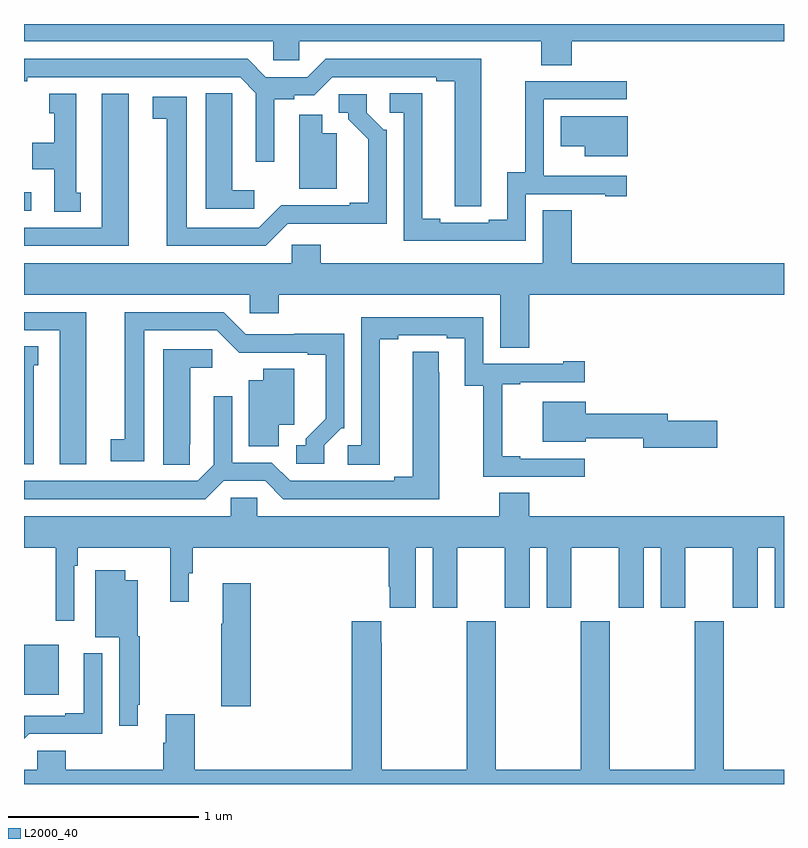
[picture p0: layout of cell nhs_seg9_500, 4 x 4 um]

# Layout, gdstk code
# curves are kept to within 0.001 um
import gdstk
lib = gdstk.Library(unit=1e-6, precision=1e-09)
def R(c, l, rs):  # rectangles x0, y0, x1, y1
    for r in rs: c.add(gdstk.rectangle(r[:2], r[2:], *l))
def P(c, l, *ps):  # polygons
    for p in ps: c.add(gdstk.Polygon(p, *l))
L2000_40 = (2000, 40)

nhs_seg9_500 = lib.new_cell('nhs_seg9_500')
R(nhs_seg9_500, L2000_40, [(135,1204.97,135.184,1205.233), (135,1207.518,135.037,1207.614)])
P(nhs_seg9_500, L2000_40, [(137.882,1208.408),(139,1208.408),(139,1208.5),(135,1208.5),(135,1208.408),(136.311,1208.408),(136.311,1208.31),(136.449,1208.31),(136.449,1208.408),(137.722,1208.408),(137.722,1208.284),(137.882,1208.284)],
  [(137.406,1207.648),(137.407,1208.316),(136.587,1208.316),(136.491,1208.22),(136.273,1208.22),(136.177,1208.316),(135,1208.316),(135,1208.2),(135.016,1208.2),(135.016,1208.22),(136.137,1208.22),(136.221,1208.136),(136.221,1207.776),(136.318,1207.776),(136.318,1208.104),(136.422,1208.104),(136.422,1208.124),(136.527,1208.124),(136.623,1208.22),(137.171,1208.22),(137.171,1208.2),(137.267,1208.2),(137.267,1207.54),(137.406,1207.54)],
  [(137.64,1207.605),(138.059,1207.605),(138.059,1207.593),(138.172,1207.593),(138.172,1207.701),(137.738,1207.701),(137.738,1207.702),(137.736,1207.702),(137.736,1208.103),(138.172,1208.103),(138.172,1208.199),(137.638,1208.199),(137.638,1207.721),(137.543,1207.721),(137.543,1207.47),(137.447,1207.47),(137.447,1207.455),(137.191,1207.455),(137.191,1207.475),(137.095,1207.475),(137.095,1208.135),(136.926,1208.135),(136.926,1208.034),(136.998,1208.034),(136.998,1207.359),(137.64,1207.359)],
  [(136.213,1207.624),(136.096,1207.624),(136.096,1208.027),(136.095,1208.027),(136.095,1208.135),(135.956,1208.135),(135.956,1207.527),(136.213,1207.527)],
  [(135.298,1207.611),(135.274,1207.611),(135.274,1208.134),(135.134,1208.134),(135.134,1208.031),(135.158,1208.031),(135.158,1207.876),(135.044,1207.876),(135.044,1207.736),(135.158,1207.736),(135.158,1207.513),(135.298,1207.513)],
  [(135.55,1208.134),(135.41,1208.134),(135.41,1207.428),(135,1207.428),(135,1207.332),(135.55,1207.332)],
  [(136.389,1207.449),(136.908,1207.448),(136.908,1207.944),(136.893,1207.944),(136.803,1208.034),(136.803,1208.13),(136.656,1208.13),(136.656,1208.034),(136.706,1208.034),(136.706,1207.999),(136.811,1207.894),(136.811,1207.558),(136.715,1207.558),(136.715,1207.545),(136.353,1207.545),(136.236,1207.428),(135.856,1207.428),(135.856,1208.118),(135.678,1208.118),(135.678,1208.002),(135.752,1208.002),(135.752,1207.332),(136.272,1207.332)],
  [(136.645,1207.924),(136.57,1207.924),(136.57,1208.023),(136.448,1208.023),(136.448,1207.634),(136.645,1207.634)],
  [(138.178,1208.014),(137.826,1208.014),(137.826,1207.856),(137.951,1207.856),(137.951,1207.805),(138.178,1207.805)],
  [(137.66,1207.076),(139,1207.076),(139,1207.24),(137.882,1207.24),(137.882,1207.52),(137.729,1207.52),(137.729,1207.24),(136.562,1207.24),(136.562,1207.338),(136.41,1207.338),(136.41,1207.24),(135,1207.24),(135,1207.076),(136.188,1207.076),(136.188,1206.978),(136.34,1206.978),(136.34,1207.076),(137.507,1207.076),(137.507,1206.796),(137.66,1206.796)],
  [(135.328,1206.984),(135,1206.984),(135,1206.888),(135.188,1206.888),(135.188,1206.183),(135.328,1206.183)],
  [(136.581,1206.282),(136.671,1206.372),(136.686,1206.372),(136.686,1206.869),(136.423,1206.869),(136.423,1206.867),(136.167,1206.867),(136.05,1206.984),(135.53,1206.984),(135.53,1206.314),(135.456,1206.314),(135.456,1206.198),(135.634,1206.198),(135.634,1206.888),(136.014,1206.888),(136.132,1206.77),(136.493,1206.771),(136.493,1206.759),(136.589,1206.759),(136.589,1206.422),(136.484,1206.317),(136.484,1206.282),(136.434,1206.282),(136.434,1206.186),(136.581,1206.186)],
  [(137.95,1206.213),(137.611,1206.213),(137.611,1206.226),(137.516,1206.226),(137.516,1206.603),(137.611,1206.603),(137.611,1206.615),(137.95,1206.615),(137.95,1206.724),(137.837,1206.724),(137.837,1206.711),(137.418,1206.711),(137.418,1206.957),(136.776,1206.957),(136.776,1206.282),(136.704,1206.282),(136.704,1206.181),(136.873,1206.181),(136.873,1206.841),(136.969,1206.841),(136.969,1206.861),(137.225,1206.861),(137.225,1206.846),(137.321,1206.846),(137.321,1206.595),(137.416,1206.595),(137.416,1206.117),(137.95,1206.117)],
  [(135.052,1206.705),(135.076,1206.705),(135.076,1206.803),(135,1206.803),(135,1206.183),(135.052,1206.183)],
  [(135.873,1206.289),(135.874,1206.289),(135.874,1206.692),(135.991,1206.692),(135.991,1206.789),(135.734,1206.789),(135.734,1206.181),(135.873,1206.181)],
  [(136.051,1206.096),(136.269,1206.096),(136.365,1206),(137.185,1206),(137.184,1206.776),(137.045,1206.776),(137.045,1206.116),(136.949,1206.116),(136.949,1206.096),(136.401,1206.096),(136.305,1206.192),(136.095,1206.192),(136.095,1206.541),(135.999,1206.541),(135.999,1206.18),(135.915,1206.096),(135,1206.096),(135,1206),(135.955,1206)],
  [(136.342,1206.392),(136.423,1206.392),(136.423,1206.686),(136.259,1206.686),(136.259,1206.625),(136.184,1206.625),(136.184,1206.277),(136.342,1206.277)],
  [(138.649,1206.413),(138.388,1206.413),(138.388,1206.449),(137.956,1206.449),(137.956,1206.511),(137.729,1206.511),(137.729,1206.302),(137.956,1206.302),(137.956,1206.321),(138.26,1206.321),(138.26,1206.271),(138.649,1206.271)],
  [(135.264,1205.648),(135.284,1205.648),(135.284,1205.744),(135.769,1205.744),(135.769,1205.46),(135.868,1205.46),(135.868,1205.61),(135.887,1205.61),(135.887,1205.744),(136.919,1205.744),(136.919,1205.539),(136.925,1205.539),(136.925,1205.427),(137.062,1205.427),(137.062,1205.744),(137.15,1205.744),(137.15,1205.427),(137.281,1205.427),(137.281,1205.744),(137.531,1205.744),(137.531,1205.427),(137.662,1205.427),(137.662,1205.744),(137.75,1205.744),(137.75,1205.427),(137.881,1205.427),(137.881,1205.744),(138.131,1205.744),(138.131,1205.427),(138.262,1205.427),(138.262,1205.744),(138.35,1205.744),(138.35,1205.427),(138.481,1205.427),(138.481,1205.744),(138.731,1205.744),(138.731,1205.427),(138.862,1205.427),(138.862,1205.744),(138.95,1205.744),(138.95,1205.427),(139,1205.427),(139,1205.908),(137.66,1205.908),(137.66,1206.032),(137.5,1206.032),(137.5,1205.908),(136.227,1205.908),(136.227,1206.006),(136.089,1206.006),(136.089,1205.908),(135,1205.908),(135,1205.744),(135.167,1205.744),(135.167,1205.358),(135.264,1205.358)],
  [(135.598,1204.918),(135.61,1204.918),(135.61,1205.277),(135.598,1205.277),(135.598,1205.572),(135.532,1205.572),(135.532,1205.626),(135.374,1205.626),(135.374,1205.273),(135.501,1205.273),(135.501,1204.806),(135.598,1204.806)],
  [(136.193,1205.557),(136.046,1205.557),(136.046,1205.344),(136.039,1205.344),(136.039,1204.908),(136.193,1204.908)],
  [(139,1204.576),(138.684,1204.576),(138.684,1205.356),(138.529,1205.356),(138.529,1204.576),(138.084,1204.576),(138.084,1205.356),(137.929,1205.356),(137.929,1204.576),(137.484,1204.576),(137.484,1205.356),(137.329,1205.356),(137.329,1204.576),(136.884,1204.576),(136.884,1205.243),(136.879,1205.243),(136.879,1205.356),(136.724,1205.356),(136.724,1204.576),(135.899,1204.576),(135.899,1204.867),(135.746,1204.867),(135.746,1204.718),(135.734,1204.718),(135.734,1204.576),(135.221,1204.576),(135.221,1204.674),(135.069,1204.674),(135.069,1204.576),(135,1204.576),(135,1204.5),(139,1204.5)],
  [(135.027,1204.764),(135.411,1204.764),(135.411,1205.188),(135.314,1205.188),(135.314,1204.873),(135.218,1204.873),(135.218,1204.86),(135,1204.86),(135,1204.737)])

lib.write_gds('nhs_seg9_500.gds')
